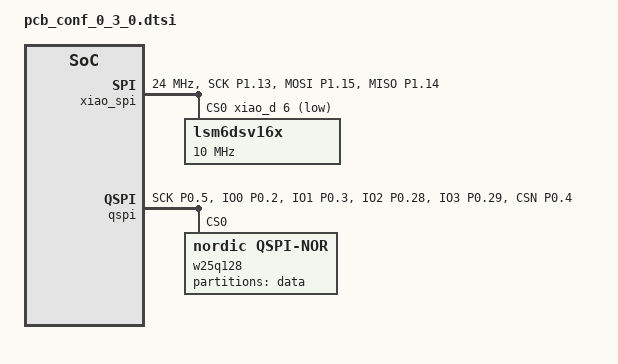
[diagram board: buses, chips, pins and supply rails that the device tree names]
/ {
	chosen {
        nordic,pm-ext-flash = &w25q128;
    };

	gpin {
		imu_int1: imu_int1 {
			label = "IMU interrupt 1 pin";
			gpios = <&xiao_d 7 GPIO_ACTIVE_HIGH>;
		};
	};

    aliases {
        spi-flash0 = &w25q128;
		imu = &lsm6dsv16x;
		imuint1 = &imu_int1;
    };
};

&xiao_spi {
	compatible = "nordic,nrf-spi";
	status = "okay";
	pinctrl-0 = <&spi2_default>;
	pinctrl-1 = <&spi2_sleep>;
	pinctrl-names = "default", "sleep";	cs-gpios = <&xiao_d 6 GPIO_ACTIVE_LOW>;
	clock-frequency = <DT_FREQ_M(24)>;
	lsm6dsv16x: lsm6dsv16x@0 {
		compatible = "zephyr,lsm6dsv16x";
		spi-max-frequency = < DT_FREQ_M(10) >;
		reg = <0>;
    };
};

&qspi {
	status = "okay";
	pinctrl-0 = <&qspi_default>;
	pinctrl-1 = <&qspi_sleep>;
	pinctrl-names = "default", "sleep";
	w25q128: w25q128@0 {
		compatible = "nordic,qspi-nor";
		reg = <0>;
		sck-frequency = <16000000>; /* Use only 16MHz. The max frequency of 104MHz corrupts the data when reading/writing. */
		quad-enable-requirements = "S2B1v1";
		jedec-id = [ef 40 18];
		/*
		Refer to the Winbond application note for SFDP Definition table for the correct parameters.
		sfdp-bfp = [
			e5 20 f1 ff  ff ff ff 00  44 eb 08 6b  08 3b 80 bb
			ee ff ff ff  ff ff 00 ff  ff ff 00 ff  0c 20 0f 52
			10 d8 08 81
		];
		 */
		size = <0x8000000>;
		has-dpd;
		t-enter-dpd = <3000>;
		t-exit-dpd = <3000>;

		partitions {
			compatible = "fixed-partitions";
			#address-cells = <1>;
			#size-cells = <1>;

			data_partition: partition@0 {
				label = "data";
				reg = <0x00000000 0x01000000>;
			};
		};
	};
};

&pinctrl {
    uart0_default: uart0_default {
		group1 {
			psels = <NRF_PSEL(UART_TX, 0, 9)>;
		};
		group2 {
			psels = <NRF_PSEL(UART_RX, 0, 10)>;
			bias-pull-up;
		};
	};

	uart0_sleep: uart0_sleep {
		group1 {
			psels = <NRF_PSEL(UART_TX, 0, 9)>,
				<NRF_PSEL(UART_RX, 0, 10)>;
			low-power-enable;
		};
	};

	spi2_default: spi2_default {
		group1 {
			psels = <NRF_PSEL(SPIM_SCK, 1, 13)>,
				<NRF_PSEL(SPIM_MOSI, 1, 15)>,
				<NRF_PSEL(SPIM_MISO, 1, 14)>;
		};
	};

	spi2_sleep: spi2_sleep {
		group1 {
			psels = <NRF_PSEL(SPIM_SCK, 1, 13)>,
				<NRF_PSEL(SPIM_MOSI, 1, 15)>,
				<NRF_PSEL(SPIM_MISO, 1, 14)>;
			low-power-enable;
		};
	};

    qspi_default: qspi_default {
		group1 {
			psels = <NRF_PSEL(QSPI_SCK, 0, 5)>,
				<NRF_PSEL(QSPI_IO0, 0, 2)>,
				<NRF_PSEL(QSPI_IO1, 0, 3)>,
				<NRF_PSEL(QSPI_IO2, 0, 28)>,
				<NRF_PSEL(QSPI_IO3, 0, 29)>,
				<NRF_PSEL(QSPI_CSN, 0, 4)>;
		};
	};

	qspi_sleep: qspi_sleep {
		group1 {
			psels = <NRF_PSEL(QSPI_SCK, 0, 5)>,
					<NRF_PSEL(QSPI_IO0, 0, 2)>,
					<NRF_PSEL(QSPI_IO1, 0, 3)>,
					<NRF_PSEL(QSPI_IO2, 0, 28)>,
					<NRF_PSEL(QSPI_IO3, 0, 29)>;
			low-power-enable;
		};
		group2 {
			psels = <NRF_PSEL(QSPI_CSN, 0, 4)>;
			low-power-enable;
			bias-pull-up;
		};
	};
};
